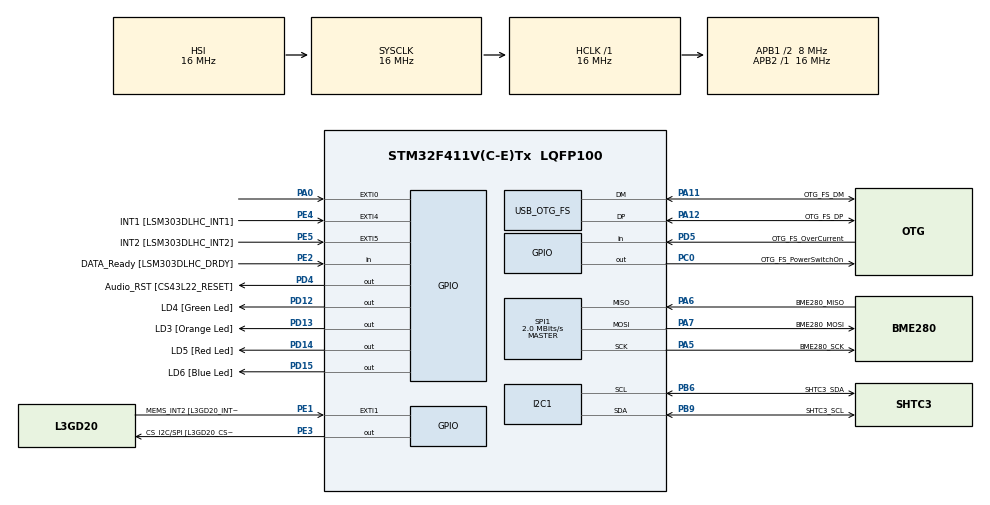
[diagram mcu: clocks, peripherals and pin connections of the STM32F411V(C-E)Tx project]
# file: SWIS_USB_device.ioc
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Mcu.Family=STM32F4
Mcu.Name=STM32F411V(C-E)Tx
Mcu.Package=LQFP100
NVIC.OTG_FS_IRQn=true\:0\:0\:false\:false\:true\:true\:true\:true
NVIC.PriorityGroup=NVIC_PRIORITYGROUP_0
PA0-WKUP.GPIO_ModeDefaultEXTI=GPIO_MODE_EVT_RISING
PA0-WKUP.Signal=GPXTI0
PA10.GPIO_Label=OTG_FS_ID
PA10.Signal=USB_OTG_FS_ID
PA11.GPIO_Label=OTG_FS_DM
PA11.Mode=Device_Only
PA11.Signal=USB_OTG_FS_DM
PA12.GPIO_Label=OTG_FS_DP
PA12.Mode=Device_Only
PA12.Signal=USB_OTG_FS_DP
PA13.GPIO_Label=SWDIO
PA13.Mode=Serial_Wire
PA13.Signal=SYS_JTMS-SWDIO
PA14.GPIO_Label=SWCLK
PA14.Mode=Serial_Wire
PA14.Signal=SYS_JTCK-SWCLK
PA4.GPIO_Label=I2S3_WS [CS43L22_LRCK]
PA4.GPIO_Mode=GPIO_MODE_AF_PP
PA4.GPIO_PuPd=GPIO_NOPULL
PA4.GPIO_Speed=GPIO_SPEED_FREQ_LOW
PA4.Signal=I2S3_WS
PA5.GPIO_Label=BME280_SCK
PA5.Mode=Full_Duplex_Master
PA5.Signal=SPI1_SCK
PA6.GPIO_Label=BME280_MISO
PA6.Mode=Full_Duplex_Master
PA6.Signal=SPI1_MISO
PA7.GPIO_Label=BME280_MOSI
PA7.Mode=Full_Duplex_Master
PA7.Signal=SPI1_MOSI
PA9.GPIO_Label=VBUS_FS
PA9.Signal=USB_OTG_FS_VBUS
PB10.GPIO_Label=CLK_IN [MP45DT02_CLK]
PB10.Signal=I2S2_CK
PB12.Signal=I2S2_WS
PB3.GPIO_Label=SWO
PB3.Signal=SYS_JTDO-SWO
PB6.GPIO_Label=SHTC3_SDA
PB6.GPIO_Mode=GPIO_MODE_AF_OD
PB6.GPIO_Pu=GPIO_PULLUP
PB6.GPIO_PuPd=GPIO_NOPULL
PB6.GPIO_Speed=GPIO_SPEED_FREQ_LOW
PB6.Mode=I2C
PB6.Signal=I2C1_SCL
PB9.GPIO_Label=SHTC3_SCL
PB9.GPIO_Mode=GPIO_MODE_AF_OD
PB9.GPIO_Pu=GPIO_PULLUP
PB9.GPIO_PuPd=GPIO_NOPULL
PB9.GPIO_Speed=GPIO_SPEED_FREQ_LOW
PB9.Mode=I2C
PB9.Signal=I2C1_SDA
PC0.GPIO_Label=OTG_FS_PowerSwitchOn
PC0.PinState=GPIO_PIN_SET
PC0.Signal=GPIO_Output
PC10.GPIO_Label=I2S3_SCK [CS43L22_SCLK]
PC10.GPIO_Mode=GPIO_MODE_AF_PP
PC10.GPIO_PuPd=GPIO_NOPULL
PC10.GPIO_Speed=GPIO_SPEED_FREQ_LOW
PC10.Signal=I2S3_CK
PC12.GPIO_Label=I2S3_SD [CS43L22_SDIN]
PC12.GPIO_Mode=GPIO_MODE_AF_PP
PC12.GPIO_PuPd=GPIO_NOPULL
PC12.GPIO_Speed=GPIO_SPEED_FREQ_LOW
PC12.Signal=I2S3_SD
PC14-OSC32_IN.GPIO_Label=PC14-OSC32_IN
PC14-OSC32_IN.Mode=LSE-External-Oscillator
PC14-OSC32_IN.Signal=RCC_OSC32_IN
PC15-OSC32_OUT.GPIO_Label=PC15-OSC32_OUT
PC15-OSC32_OUT.Mode=LSE-External-Oscillator
PC15-OSC32_OUT.Signal=RCC_OSC32_OUT
PC3.GPIO_Label=PDM_OUT [MP45DT02_DOUT]
PC3.Signal=I2S2_SD
PC7.GPIO_Label=I2S3_MCK [CS43L22_MCLK]
PC7.GPIO_Mode=GPIO_MODE_AF_PP
PC7.GPIO_PuPd=GPIO_NOPULL
PC7.GPIO_Speed=GPIO_SPEED_FREQ_LOW
PC7.Signal=I2S3_MCK
PD12.GPIO_Label=LD4 [Green Led]
PD12.GPIO_PuPd=GPIO_NOPULL
PD12.GPIO_Speed=GPIO_SPEED_FREQ_LOW
PD12.Signal=GPIO_Output
PD13.GPIO_Label=LD3 [Orange Led]
PD13.GPIO_PuPd=GPIO_NOPULL
PD13.GPIO_Speed=GPIO_SPEED_FREQ_LOW
PD13.Signal=GPIO_Output
PD14.GPIO_Label=LD5 [Red Led]
PD14.GPIO_PuPd=GPIO_NOPULL
PD14.GPIO_Speed=GPIO_SPEED_FREQ_LOW
PD14.Signal=GPIO_Output
PD15.GPIO_Label=LD6 [Blue Led]
PD15.GPIO_PuPd=GPIO_NOPULL
PD15.GPIO_Speed=GPIO_SPEED_FREQ_LOW
PD15.Signal=GPIO_Output
PD4.GPIO_Label=Audio_RST [CS43L22_RESET]
PD4.Signal=GPIO_Output
PD5.GPIO_Label=OTG_FS_OverCurrent
PD5.Signal=GPIO_Input
PE1.GPIO_Label=MEMS_INT2 [L3GD20_INT2]
PE1.GPIO_ModeDefaultEXTI=GPIO_MODE_EVT_RISING
PE1.Signal=GPXTI1
PE2.GPIO_Label=DATA_Ready [LSM303DLHC_DRDY]
PE2.Signal=GPIO_Input
PE3.GPIO_Label=CS_I2C/SPI [L3GD20_CS_I2C/SPI]
PE3.Signal=GPIO_Output
PE4.GPIO_Label=INT1 [LSM303DLHC_INT1]
PE4.GPIO_ModeDefaultEXTI=GPIO_MODE_EVT_RISING
PE4.Signal=GPXTI4
PE5.GPIO_Label=INT2 [LSM303DLHC_INT2]
PE5.GPIO_ModeDefaultEXTI=GPIO_MODE_EVT_RISING
PE5.Signal=GPXTI5
PH0\ -\ OSC_IN.GPIO_Label=PH0-OSC_IN
PH0\ -\ OSC_IN.Mode=HSE-External-Oscillator
PH0\ -\ OSC_IN.Signal=RCC_OSC_IN
PH1\ -\ OSC_OUT.GPIO_Label=PH1-OSC_OUT
PH1\ -\ OSC_OUT.Mode=HSE-External-Oscillator
PH1\ -\ OSC_OUT.Signal=RCC_OSC_OUT
ProjectManager.HeapSize=0x200
ProjectManager.StackSize=0x400
ProjectManager.TargetToolchain=STM32CubeIDE
RCC.48MHZClocksFreq_Value=48000000
RCC.AHBFreq_Value=16000000
RCC.APB1CLKDivider=RCC_HCLK_DIV2
RCC.APB1Freq_Value=8000000
RCC.APB1TimFreq_Value=16000000
RCC.APB2Freq_Value=16000000
RCC.APB2TimFreq_Value=16000000
RCC.CortexFreq_Value=16000000
RCC.HCLKFreq_Value=16000000
RCC.HSE_VALUE=8000000
RCC.HSI_VALUE=16000000
RCC.PLLI2SM=5
RCC.PLLI2SN=200
RCC.PLLM=4
RCC.PLLN=72
RCC.PLLP=RCC_PLLP_DIV6
RCC.PLLQ=3
RCC.SYSCLKFreq_VALUE=16000000
RCC.VCOOutputFreq_Value=144000000
SPI1.BaudRatePrescaler=SPI_BAUDRATEPRESCALER_8
SPI1.CalculateBaudRate=2.0 MBits/s
SPI1.Direction=SPI_DIRECTION_2LINES
SPI1.Mode=SPI_MODE_MASTER
SPI1.VirtualType=VM_MASTER
USB_DEVICE.CLASS_NAME_FS=CUSTOM_HID
USB_DEVICE.CONFIGURATION_STRING_CUSTOMHID_FS=Custom SWIS Config
USB_DEVICE.MANUFACTURER_STRING=SWIS Manufacturer
USB_DEVICE.PID_CUSTOMHID_FS=54321
USB_DEVICE.PRODUCT_STRING_CUSTOMHID_FS=SWIS Product ID
USB_DEVICE.USBD_CUSTOMHID_OUTREPORT_BUF_SIZE=64
USB_DEVICE.USBD_CUSTOM_HID_REPORT_DESC_SIZE=25
USB_DEVICE.VirtualMode=CustomHid
USB_DEVICE.VirtualModeFS=Custom_Hid_FS
USB_OTG_FS.VirtualMode=Device_Only
VP_USB_DEVICE_VS_USB_DEVICE_CUSTOM_HID_FS.Mode=CUSTOM_HID_FS
board=STM32F411E-DISCO

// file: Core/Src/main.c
/* USER CODE BEGIN Header */
/**
  ******************************************************************************
  * @file           : main.c
  * @brief          : Main program body
  ******************************************************************************
  * @attention
  *
  * Copyright (c) 2025 STMicroelectronics.
  * All rights reserved.
  *
  * This software is licensed under terms that can be found in the LICENSE file
  * in the root directory of this software component.
  * If no LICENSE file comes with this software, it is provided AS-IS.
  *
  ******************************************************************************
  */
/* USER CODE END Header */
#include "main.h"
#include "i2c.h"
#include "spi.h"
#include "usb_device.h"
#include "gpio.h"

/* USER CODE BEGIN Includes */
#include "usbd_customhid.h"
#include "shtc3_driver.h"
#include "bme280_driver.h"
//#include "bme280_driver.h"

extern USBD_HandleTypeDef hUsbDeviceFS;
/* USER CODE END Includes */

/* USER CODE BEGIN PM */
#define SIMULATE 0
/* USER CODE END PM */

/* USER CODE BEGIN PV */
volatile shtc3_t shtc3_sensor;
volatile bme280_t bme280_sensor;
volatile uint8_t report[64] = {0};
volatile uint8_t local_buffer[64] = {0};
volatile uint8_t local_len = 0;
/* USER CODE END PV */

void SystemClock_Config(void);
/* USER CODE BEGIN PFP */
static void usbSend(uint8_t *report, uint8_t len);
/* USER CODE END PFP */

int main(void)
{

  /* MCU Configuration--------------------------------------------------------*/

  /* Reset of all peripherals, Initializes the Flash interface and the Systick. */
  HAL_Init();

  /* Configure the system clock */
  SystemClock_Config();

  /* Initialize all configured peripherals */
  MX_GPIO_Init();
  MX_USB_DEVICE_Init();
  MX_I2C1_Init();
  MX_SPI1_Init();
  /* USER CODE BEGIN 2 */

  if(0 == SIMULATE)
  {
	  shtc3_init(&shtc3_sensor, &hi2c1, SHTC3_I2C_ADDR);
	  shtc3_wakeup(&shtc3_sensor);
	  shtc3_get_id(&shtc3_sensor);
	  shtc3_sleep(&shtc3_sensor);

	  bme280_init(&bme280_sensor, &hi2c1);
	  bme280_reset(&bme280_sensor);
	  HAL_Delay(100);
	  bme280_check_id(&bme280_sensor);
	  bme280_configure(&bme280_sensor);
	  bme280_read_calibration_data(&bme280_sensor);
	  bme280_force_measurement(&bme280_sensor);
  }

  /* USER CODE END 2 */

  /* Infinite loop */
  /* USER CODE BEGIN WHILE */
  while (1)
  {
	usb_parser();
	if(0 == SIMULATE)
	{
		uint8_t ret	= 0;
		switch(shtc3_sensor.state)
		{
			case SHTC3_SINGLE_MEASURE_START:
				 ret = shtc3_raw_write_temp_and_hum(&shtc3_sensor);
				if(0 == ret) {shtc3_sensor.state = SHTC3_SINGLE_MEASURE;}
			case SHTC3_SINGLE_MEASURE:
				ret = shtc3_raw_read_temp_and_hum(&shtc3_sensor);
				if(0 == ret)
				{
					shtc3_sleep(&shtc3_sensor);
					sprintf((char *)report, "SHTC3 DATA: %.3f %.3f", shtc3_sensor.temp, shtc3_sensor.hum);
					usbSend(report, strlen((char *)report));
					shtc3_sensor.state = SHTC3_IDLE;
				}
				break;
			case SHTC3_CYCLIC_MEASURE_START:
				ret = shtc3_raw_write_temp_and_hum(&shtc3_sensor);
				if(0 == ret)
				{
					shtc3_sensor.state = SHTC3_CYCLIC_MEASURE;
					shtc3_sensor.cyclic_timestamp = HAL_GetTick();
				}
				break;
			case SHTC3_CYCLIC_MEASURE:
				ret = shtc3_raw_read_temp_and_hum(&shtc3_sensor);
				if(0 == ret)
				{
					shtc3_sleep(&shtc3_sensor);
					sprintf((char *)report, "SHTC3 DATA: %.3f %.3f", shtc3_sensor.temp, shtc3_sensor.hum);
					usbSend(report, strlen((char *)report));
					shtc3_sensor.state = SHTC3_CYCLIC_MEASURE_WAIT;
				}
				break;
			case SHTC3_CYCLIC_MEASURE_WAIT:
				if(HAL_GetTick() - shtc3_sensor.cyclic_timestamp >= shtc3_sensor.period_ms)
				{
					shtc3_sensor.state = SHTC3_CYCLIC_MEASURE_START;
				}
				break;
			case SHTC3_IDLE:
			default:
	//			shtc3_get_temp_and_hum(&shtc3_sensor);
				break;
		}

		ret	= 0;
		switch(bme280_sensor.state)
		{
			case BME280_SINGLE_MEASURE_START:
				ret = bme280_force_measurement(&bme280_sensor);
				if(1 == ret) {bme280_sensor.state = BME280_SINGLE_MEASURE;}
			case BME280_SINGLE_MEASURE:
				ret = bme280_read_float(&bme280_sensor);
				if(1 == ret)
				{
					sprintf((char *)report, "BME280 DATA: %.3f %.3f", bme280_sensor.raw_temp, bme280_sensor.raw_hum);
					usbSend(report, strlen((char *)report));
					bme280_sensor.state = BME280_IDLE;
					bme280_sleep(&bme280_sensor);
				}
				break;
			case SHTC3_CYCLIC_MEASURE_START:
				ret = bme280_force_measurement(&bme280_sensor);
				if(1 == ret)
				{
					bme280_sensor.state = BME280_CYCLIC_MEASURE;
					bme280_sensor.cyclic_timestamp = HAL_GetTick();
				}
				break;
			case BME280_CYCLIC_MEASURE:
				ret = bme280_read_float(&bme280_sensor);
				if(1 == ret)
				{
					sprintf((char *)report, "BME280 DATA: %.3f %.3f", bme280_sensor.raw_temp, bme280_sensor.raw_hum);
					usbSend(report, strlen((char *)report));
					bme280_sensor.state = BME280_CYCLIC_MEASURE_WAIT;
				}
				break;
			case BME280_CYCLIC_MEASURE_WAIT:
				if(HAL_GetTick() - bme280_sensor.cyclic_timestamp >= bme280_sensor.period_ms)
				{
					bme280_sensor.state = BME280_CYCLIC_MEASURE_START;
				}
				break;
			case BME280_IDLE:
			default:
	//			shtc3_get_temp_and_hum(&shtc3_sensor);
				break;
		}
	}
	else
	{
		shtc3_sensor.state = SHTC3_IDLE;
		shtc3_sensor.temp = (float)rand()/(float)(RAND_MAX/50);
		shtc3_sensor.hum = (float)rand()/(float)(RAND_MAX/100);

		bme280_sensor.state = BME280_IDLE;
		bme280_sensor.raw_temp = (float)rand()/(float)(RAND_MAX/50);
		bme280_sensor.raw_hum = (float)rand()/(float)(RAND_MAX/100);
	}
    /* USER CODE END WHILE */

  }
}

static bool compareStrings(uint8_t *buffer, char *str, uint16_t max_len)
{
	return (0 == strncmp((char *)buffer, str, (strlen(str) > max_len ? max_len : strlen(str))));
}

static void usbSend(uint8_t *report, uint8_t len)
{
	if(hUsbDeviceFS.dev_state == USBD_STATE_CONFIGURED)
	{
		while (((USBD_CUSTOM_HID_HandleTypeDef*)hUsbDeviceFS.pClassData)->state != CUSTOM_HID_IDLE);
		USBD_CUSTOM_HID_SendReport(&hUsbDeviceFS, report, len);
	}
}

static bool parsePeriod(const uint8_t *buffer, uint32_t *period_out, char* str)
{
    if (!buffer || !period_out)
        return false;

    uint32_t prefix_len = strlen(str);

    // Sprawdzenie prefiksu
    if (strncmp((const char *)buffer, str, prefix_len) != 0)
        return false;

    // Wskaźnik do miejsca po "SHTC3 PERIOD:"
    const char *number_str = (const char *)(buffer + prefix_len);

    // Parsowanie liczby
    char *endptr;
    unsigned long val = strtoul(number_str, &endptr, 10);

    // Sprawdzenie, czy udało się sparsować oraz czy nie przekroczono uint32_t
    if (number_str == endptr || val > UINT32_MAX || val < 0)
        return false;

    *period_out = (uint32_t)val;
    return true;
}
void usb_copy_buffer(uint8_t *buffer, uint16_t max_len)
{
	memset(local_buffer, 0, sizeof(local_buffer));
	memcpy(local_buffer, buffer, max_len);
	local_len = max_len;
}

void usb_parser()
{
	uint8_t buffer[64] = {0};
	uint16_t max_len = local_len;
	if(local_len != 0)
	{
		memcpy(buffer, local_buffer, local_len);
		memset(local_buffer, 0, sizeof(local_buffer));
		local_len = 0;
	}
	else
	{
		return;
	}
	memset(report, 0,sizeof(report));
	if(compareStrings(buffer, SHTC3_CMD_READ_DATA, max_len))
	{
		sprintf((char *)report, "SHTC3 DATA: %.3f %.3f", shtc3_sensor.temp, shtc3_sensor.hum);
		usbSend(report, strlen((char *)report));
	}
	if(compareStrings(buffer, BME280_CMD_READ_DATA, max_len))
	{
		sprintf((char *)report, "BME280 DATA: %.3f %.3f", bme280_sensor.raw_temp, bme280_sensor.raw_hum);
		usbSend(report, strlen((char *)report));
	}
	else if(compareStrings(buffer, SHTC3_CMD_READ_STATE, max_len))
	{
		switch (shtc3_sensor.state)
		{
			case SHTC3_IDLE:
				sprintf((char *)report, "SHTC3 IDLE");
				break;
			case SHTC3_SINGLE_MEASURE_START:
			case SHTC3_SINGLE_MEASURE:
				sprintf((char *)report, "SHTC3 SINGLE MEASURE");
				break;
			case SHTC3_CYCLIC_MEASURE:
				sprintf((char *)report, "SHTC3 CYCLIC MEASURE");
				break;
			default:
				sprintf((char *)report, "SHTC3 UNKNOW");
				break;
		}
		usbSend(report, strlen((char *)report));
	}
	else if(compareStrings(buffer, BME280_CMD_READ_STATE, max_len))
	{
		switch (bme280_sensor.state)
		{
			case BME280_IDLE:
				sprintf((char *)report, "BME280 IDLE");
				break;
			case BME280_SINGLE_MEASURE_START:
			case BME280_SINGLE_MEASURE:
				sprintf((char *)report, "BME280 SINGLE MEASURE");
				break;
			case BME280_CYCLIC_MEASURE:
				sprintf((char *)report, "BME280 CYCLIC MEASURE");
				break;
			default:
				sprintf((char *)report, "BME280 UNKNOW");
				break;
		}
		usbSend(report, strlen((char *)report));
	}
	else if(compareStrings(buffer, SHTC3_CMD_SET_SINGLE, max_len))
	{
		switch (shtc3_sensor.state)
		{
			case SHTC3_IDLE:
				shtc3_sensor.state = SHTC3_SINGLE_MEASURE_START;
				break;
			default:
				sprintf((char *)report, "SHTC3 BUSY");
				break;
		}
	}
	else if(compareStrings(buffer, BME280_CMD_SET_SINGLE, max_len))
	{
		switch (bme280_sensor.state)
		{
			case BME280_IDLE:
				bme280_sensor.state = BME280_SINGLE_MEASURE_START;
				break;
			default:
				sprintf((char *)report, "BME280 BUSY");
				break;
		}
	}
	else if(compareStrings(buffer, SHTC3_CMD_SET_PERIOD, max_len))
	{
		if(strlen((char *)buffer) < strlen(SHTC3_CMD_SET_PERIOD))
		{
			sprintf((char *)report, "SHTC3 PERIOD INCORRECT");
			usbSend(report, strlen((char *)report));
		}
		uint32_t periodTmp = 0;
		bool ret = parsePeriod(buffer, &periodTmp, SHTC3_CMD_SET_PERIOD);
		if(ret)
		{
			shtc3_sensor.period_ms = periodTmp;
			if(periodTmp != 0) { shtc3_sensor.state = SHTC3_CYCLIC_MEASURE_START;}
			else {shtc3_sensor.state = SHTC3_IDLE;}
		}
		else
		{
			sprintf((char *)report, "SHTC3 PERIOD INCORRECT");
			usbSend(report, strlen((char *)report));
		}
	}
	else if(compareStrings(buffer, BME280_CMD_SET_PERIOD, max_len))
	{
		if(strlen((char *)buffer) < strlen(BME280_CMD_SET_PERIOD))
		{
			sprintf((char *)report, "BME280 PERIOD INCORRECT");
			usbSend(report, strlen((char *)report));
		}
		uint32_t periodTmp = 0;
		bool ret = parsePeriod(buffer, &periodTmp, BME280_CMD_SET_PERIOD);
		if(ret)
		{
			bme280_sensor.period_ms = periodTmp;
			if(periodTmp != 0) { bme280_sensor.state = BME280_CYCLIC_MEASURE_START;}
			else {bme280_sensor.state = BME280_IDLE;bme280_sleep(&bme280_sensor);}
		}
		else
		{
			sprintf((char *)report, "BME280 PERIOD INCORRECT");
			usbSend(report, strlen((char *)report));
		}
	}
	else if(compareStrings(buffer, SHTC3_CMD_GET_PERIOD, max_len))
	{
		sprintf((char *)report, "SHTC3 PERIOD: %ld", shtc3_sensor.period_ms);
		usbSend(report, strlen((char *)report));
	}
	else if(compareStrings(buffer, BME280_CMD_GET_PERIOD, max_len))
	{
		sprintf((char *)report, "BME280 PERIOD: %ld", bme280_sensor.period_ms);
		usbSend(report, strlen((char *)report));
	}
}

void SystemClock_Config(void)
{
  RCC_OscInitTypeDef RCC_OscInitStruct = {0};
  RCC_ClkInitTypeDef RCC_ClkInitStruct = {0};

  /** Configure the main internal regulator output voltage
  */
  __HAL_RCC_PWR_CLK_ENABLE();
  __HAL_PWR_VOLTAGESCALING_CONFIG(PWR_REGULATOR_VOLTAGE_SCALE1);

  /** Initializes the RCC Oscillators according to the specified parameters
  * in the RCC_OscInitTypeDef structure.
  */
  RCC_OscInitStruct.OscillatorType = RCC_OSCILLATORTYPE_HSI|RCC_OSCILLATORTYPE_HSE;
  RCC_OscInitStruct.HSEState = RCC_HSE_ON;
  RCC_OscInitStruct.HSIState = RCC_HSI_ON;
  RCC_OscInitStruct.HSICalibrationValue = RCC_HSICALIBRATION_DEFAULT;
  RCC_OscInitStruct.PLL.PLLState = RCC_PLL_ON;
  RCC_OscInitStruct.PLL.PLLSource = RCC_PLLSOURCE_HSE;
  RCC_OscInitStruct.PLL.PLLM = 4;
  RCC_OscInitStruct.PLL.PLLN = 72;
  RCC_OscInitStruct.PLL.PLLP = RCC_PLLP_DIV6;
  RCC_OscInitStruct.PLL.PLLQ = 3;
  if (HAL_RCC_OscConfig(&RCC_OscInitStruct) != HAL_OK)
  {
    Error_Handler();
  }

  /** Initializes the CPU, AHB and APB buses clocks
  */
  RCC_ClkInitStruct.ClockType = RCC_CLOCKTYPE_HCLK|RCC_CLOCKTYPE_SYSCLK
                              |RCC_CLOCKTYPE_PCLK1|RCC_CLOCKTYPE_PCLK2;
  RCC_ClkInitStruct.SYSCLKSource = RCC_SYSCLKSOURCE_HSI;
  RCC_ClkInitStruct.AHBCLKDivider = RCC_SYSCLK_DIV1;
  RCC_ClkInitStruct.APB1CLKDivider = RCC_HCLK_DIV2;
  RCC_ClkInitStruct.APB2CLKDivider = RCC_HCLK_DIV1;

  if (HAL_RCC_ClockConfig(&RCC_ClkInitStruct, FLASH_LATENCY_0) != HAL_OK)
  {
    Error_Handler();
  }
}

void Error_Handler(void)
{
  __disable_irq();
  while (1)
  {
  }
}
